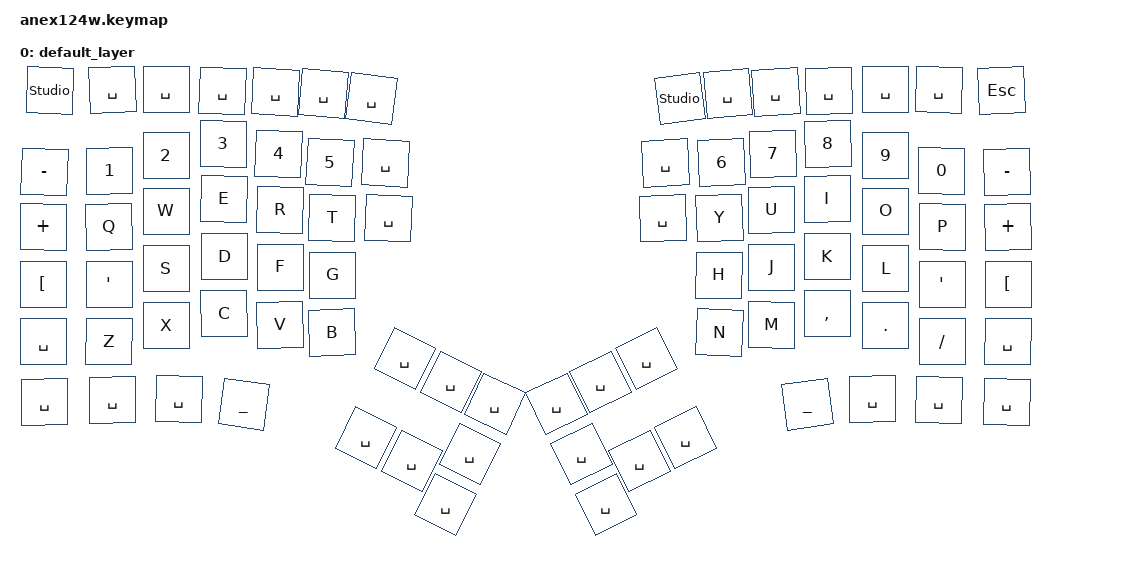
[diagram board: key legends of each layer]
#include <behaviors.dtsi>
#include <dt-bindings/zmk/keys.h>

/ {
    keymap {
        compatible = "zmk,keymap";

        default_layer {
            bindings = <&studio_unlock &kp SPACE &kp SPACE &kp SPACE &kp SPACE &kp SPACE &kp SPACE &studio_unlock &kp SPACE &kp SPACE &kp SPACE &kp SPACE &kp SPACE &kp ESC &kp MINUS &kp N1 &kp N2 &kp N3 &kp N4 &kp N5 &kp SPACE &kp SPACE &kp N6 &kp N7 &kp N8 &kp N9 &kp N0 &kp MINUS &kp PLUS &kp Q &kp W &kp E &kp R &kp T &kp SPACE &kp SPACE &kp Y &kp U &kp I &kp O &kp P &kp PLUS &kp LBKT &kp SQT &kp S &kp D &kp F &kp G &kp H &kp J &kp K &kp L &kp SQT &kp LBKT &kp SPACE &kp Z &kp X &kp C &kp V &kp B &kp N &kp M &kp COMMA &kp DOT &kp FSLH &kp SPACE &kp SPACE &kp SPACE &kp SPACE &kp UNDER &kp UNDER &kp SPACE &kp SPACE &kp SPACE &kp SPACE &kp SPACE &kp SPACE &kp SPACE &kp SPACE &kp SPACE &kp SPACE &kp SPACE &kp SPACE &kp SPACE &kp SPACE &kp SPACE &kp SPACE &kp SPACE>;
        };

        extra1 {
            status = "reserved";
        };

        extra2 {
            status = "reserved";
        };

        extra3 {
            status = "reserved";
        };
    };
};
